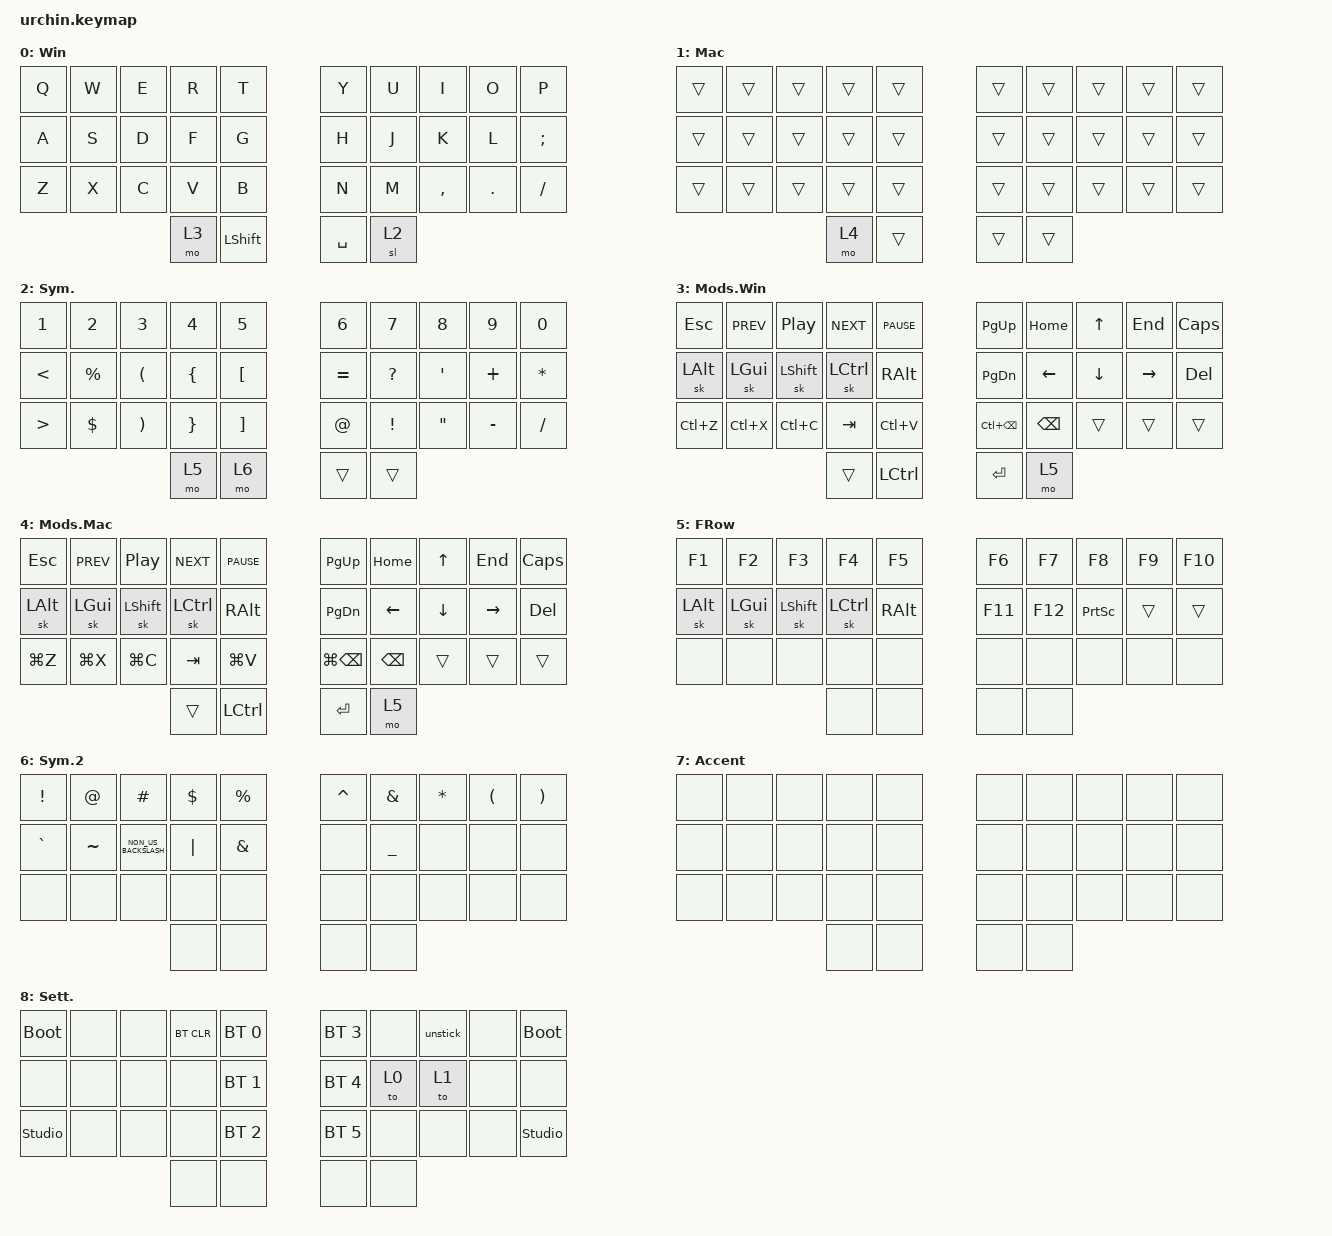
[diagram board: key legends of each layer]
/*
 * Copyright (c) 2020 duckyb
 *
 * SPDX-License-Identifier: MIT
 */

#include <behaviors.dtsi>
#include <dt-bindings/zmk/bt.h>
#include <dt-bindings/zmk/keys.h>

// Layer definitions

#define BASE 0
#define SYM 1
#define EXT 2
#define FNC 3
#define SYM2 4
#define ACCENT 5
#define SETTINGS 6

// -----------------

&sk {
    // don't release mods on other mods presses

    ignore-modifiers;
};

/ {
    behaviors {
        // Enables holding the first mod-tap key
        // by performing a tap-release-hold sequence.
        // To use it: "&qt KEYCODE1 KEYCODE2"

        qt: quick_tap {
            compatible = "zmk,behavior-hold-tap";
            label = "QUICK_TAP";
            #binding-cells = <2>;
            flavor = "hold-preferred";
            tapping-term-ms = <200>;
            quick-tap-ms = <200>;
            bindings = <&kp>, <&kp>;
        };
    };

    macros {
        // sometimes my device thinks a modifier is being held down
        // pressing all modifiers fixes it.

        unstick: unstick {
            label = "ZM_unstick";
            compatible = "zmk,behavior-macro";
            #binding-cells = <0>;
            bindings = <&kp LSHIFT &kp RSHIFT &kp LCTRL &kp RCTRL &kp LALT &kp RALT &kp LGUI &kp RGUI>;
        };
    };

    combos {
        compatible = "zmk,combos";

        // both right thumb keys

        combo_accent {
            timeout-ms = <200>;
            key-positions = <32 33>;
            bindings = <&mo 7>;
        };

        // internal-left & external-right thumb keys

        combo_sym2 {
            timeout-ms = <200>;
            key-positions = <31 33>;
            bindings = <&mo 6>;
        };

        // both left thumb keys

        combo_settings {
            timeout-ms = <200>;
            key-positions = <30 31>;
            bindings = <&mo 8>;
        };

        // left index & middle fingers (home-row)
        // hold control & space for Adobe workflow

        combo_ctrl_space {
            timeout-ms = <200>;
            key-positions = <12 13>;
            bindings = <&kp LC(SPACE)>;
            layers = <0>;
        };
    };

    keymap {
        compatible = "zmk,keymap";

        // Base alpha layer

        default_layer {
            label = "Win";
            bindings = <
&kp Q  &kp W  &kp E  &kp R  &kp T       &kp Y      &kp U  &kp I      &kp O    &kp P
&kp A  &kp S  &kp D  &kp F  &kp G       &kp H      &kp J  &kp K      &kp L    &kp SEMICOLON
&kp Z  &kp X  &kp C  &kp V  &kp B       &kp N      &kp M  &kp COMMA  &kp DOT  &kp SLASH
                     &mo 3  &kp LSHIFT  &kp SPACE  &sl 2
            >;
        };

        default_layer_mac {
            bindings = <
&trans  &trans  &trans  &trans  &trans  &trans  &trans  &trans  &trans  &trans
&trans  &trans  &trans  &trans  &trans  &trans  &trans  &trans  &trans  &trans
&trans  &trans  &trans  &trans  &trans  &trans  &trans  &trans  &trans  &trans
                        &mo 4   &trans  &trans  &trans
            >;

            label = "Mac";
        };

        sym_layer {
            label = "Sym.";
            bindings = <
&kp N1            &kp N2       &kp N3                 &kp N4           &kp N5             &kp N6       &kp N7           &kp N8             &kp N9     &kp N0
&kp LESS_THAN     &kp PERCENT  &kp LEFT_PARENTHESIS   &kp LEFT_BRACE   &kp LEFT_BRACKET   &kp EQUAL    &kp QUESTION     &kp SQT            &kp PLUS   &kp ASTERISK
&kp GREATER_THAN  &kp DOLLAR   &kp RIGHT_PARENTHESIS  &kp RIGHT_BRACE  &kp RIGHT_BRACKET  &kp AT_SIGN  &kp EXCLAMATION  &kp DOUBLE_QUOTES  &kp MINUS  &kp SLASH
                                                      &mo 5            &mo 6              &trans       &trans
            >;
        };

        ext_layer {
            label = "Mods.Win";
            bindings = <
&kp ESC    &kp C_PREV  &kp C_PP    &kp C_NEXT  &kp C_PAUSE  &kp PG_UP     &kp HOME  &kp UP    &kp END    &kp CAPS
&sk LALT   &sk LGUI    &sk LSHIFT  &sk LCTRL   &kp RALT     &kp PG_DN     &kp LEFT  &kp DOWN  &kp RIGHT  &kp DEL
&kp LC(Z)  &kp LC(X)   &kp LC(C)   &kp TAB     &kp LC(V)    &kp LC(BSPC)  &kp BSPC  &trans    &trans     &trans
                                   &trans      &kp LCTRL    &kp ENTER     &mo 5
            >;
        };

        ext_layer_mac {
            label = "Mods.Mac";
            bindings = <
&kp ESC    &kp C_PREV  &kp C_PP    &kp C_NEXT  &kp C_PAUSE  &kp PG_UP     &kp HOME  &kp UP    &kp END    &kp CAPS
&sk LALT   &sk LGUI    &sk LSHIFT  &sk LCTRL   &kp RALT     &kp PG_DN     &kp LEFT  &kp DOWN  &kp RIGHT  &kp DEL
&kp LG(Z)  &kp LG(X)   &kp LG(C)   &kp TAB     &kp LG(V)    &kp LG(BSPC)  &kp BSPC  &trans    &trans     &trans
                                   &trans      &kp LCTRL    &kp ENTER     &mo 5
            >;
        };

        fnc_layer {
            label = "FRow";
            bindings = <
&kp F1    &kp F2    &kp F3      &kp F4     &kp F5    &kp F6   &kp F7   &kp F8           &kp F9  &kp F10
&sk LALT  &sk LGUI  &sk LSHIFT  &sk LCTRL  &kp RALT  &kp F11  &kp F12  &kp PRINTSCREEN  &trans  &trans
&none     &none     &none       &none      &none     &none    &none    &none            &none   &none
                                &none      &none     &none    &none
            >;
        };

        symbols_2_layer {
            label = "Sym.2";
            bindings = <
&kp EXCLAMATION  &kp AT     &kp HASH              &kp DOLLAR  &kp PERCENT    &kp CARET  &kp AMPERSAND   &kp ASTERISK  &kp LEFT_PARENTHESIS  &kp RIGHT_PARENTHESIS
&kp GRAVE        &kp TILDE  &kp NON_US_BACKSLASH  &kp PIPE    &kp AMPERSAND  &none      &kp UNDERSCORE  &none         &none                 &none
&none            &none      &none                 &none       &none          &none      &none           &none         &none                 &none
                                                  &none       &none          &none      &none
            >;
        };

        accent_layer {
            label = "Accent";
            bindings = <
&none  &none  &none  &none  &none  &none  &none  &none  &none  &none
&none  &none  &none  &none  &none  &none  &none  &none  &none  &none
&none  &none  &none  &none  &none  &none  &none  &none  &none  &none
                     &none  &none  &none  &none
            >;
        };

        settings_layer {
            label = "Sett.";
            bindings = <
&bootloader     &none  &none  &bt BT_CLR  &bt BT_SEL 0  &bt BT_SEL 3  &none  &unstick  &none  &bootloader
&none           &none  &none  &none       &bt BT_SEL 1  &bt BT_SEL 4  &to 0  &to 1     &none  &none
&studio_unlock  &none  &none  &none       &bt BT_SEL 2  &bt BT_SEL 5  &none  &none     &none  &studio_unlock
                              &none       &none         &none         &none
            >;
        };
    };
};
